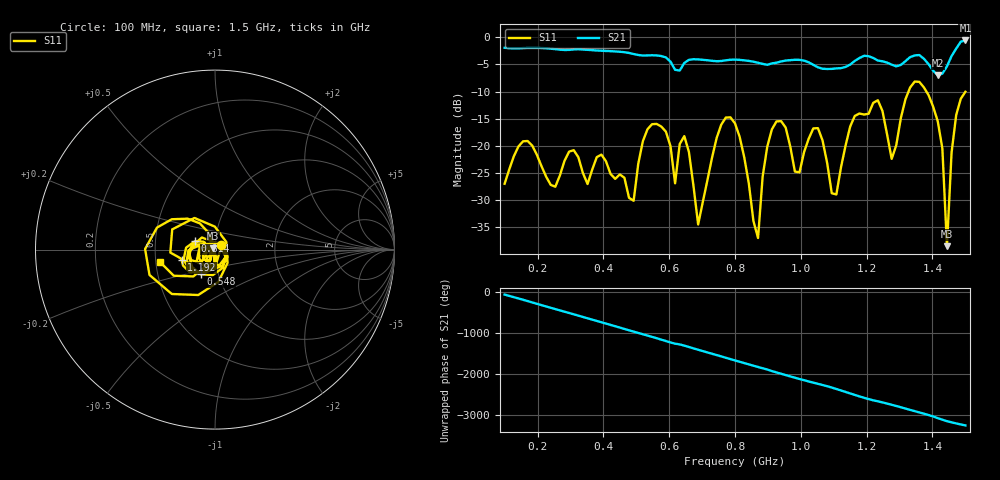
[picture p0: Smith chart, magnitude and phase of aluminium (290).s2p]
! NanoVNA-App
! Date: 2025-09-25 14:57:32
! Start: 100MHz Stop: 1,5GHz Points: 101
! S-Parameter data: F S11 S21 S12 S22
# Hz S RI R 50
!  Frequency  S11_Real  S11_Imag  S21_Real  S21_Imag  S12_Real  S12_Imag  S22_Real  S22_Imag
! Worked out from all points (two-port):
!   101 points, 100 MHz to 1.5 GHz, reference 50 ohm
!   highest |S21| = -0.57 dB at 1.5 GHz (marker M1); lowest = -7.0 dB at 1.416 GHz (marker M2)
!   |S21| within 3 dB of the highest: start of sweep to 583.3 MHz; 1.457 GHz to end of sweep (the widest 2 of 4)
!   lowest |S11| = -38.5 dB at 1.444 GHz (marker M3), VSWR 1.02, Z = 49.1 + j0.717 ohm
!   |S11| at or under -10 dB: start of sweep to 1.327 GHz; 1.382 GHz to end of sweep
!   S12 and S22 are empty: the file has one direction only
!   S11 on the Smith chart (normalised r, x): 100 MHz: 1.07, +0.06; 548 MHz: 0.82, -0.23; 814 MHz: 0.79, +0.07; 1.192 GHz: 0.68, -0.08; 1.5 GHz: 0.52, -0.08
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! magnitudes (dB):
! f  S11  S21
! 100 MHz  -27.0  -1.9
! 338 MHz  -25.0  -2.2
! 492 MHz  -30.1  -3.1
! 548 MHz  -16.0  -3.3
! 576 MHz  -16.4  -3.4
! 618 MHz  -26.9  -6.0
! 646 MHz  -18.2  -4.7
! 688 MHz  -34.4  -4.1
! 800 MHz  -15.8  -4.1
! 814 MHz  -18.3  -4.1
! 870 MHz  -36.9  -4.7
! 912 MHz  -16.9  -4.8
! 996 MHz  -24.8  -4.2
! 1.038 GHz  -16.8  -5.1
! 1.108 GHz  -28.9  -5.7
! 1.192 GHz  -14.2  -3.4
! 1.276 GHz  -22.4  -5.0
! 1.346 GHz  -8.1  -3.3
! 1.416 GHz  -15.5  -7.0
! 1.444 GHz  -38.5  -5.3
! 1.458 GHz  -21.2  -3.4
! 1.5 GHz  -10.0  -0.6
